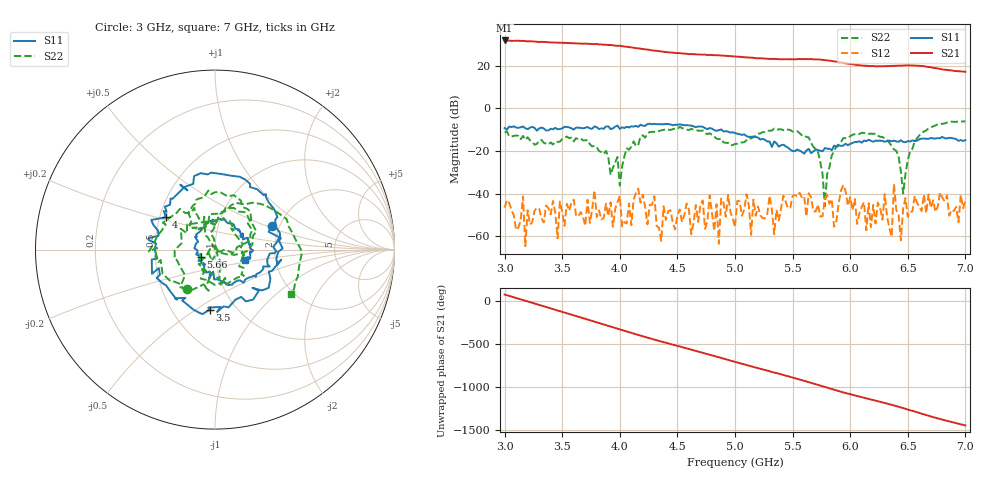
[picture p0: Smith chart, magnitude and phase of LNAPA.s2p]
!Keysight Technologies N9918A: A.08.15
!Date: Thursday, 07 December 2017 12:48:40
!Timezone: (GMT-08:00) Pacific Time (US & Canada)
!Model: N9918A
!Serial: MY53103150
!GPS Latitude:
!GPS Longitude:
!GPS TimeStamp: 0001-01-01 00:00:00Z
!GPS Seconds Since Last Read: 0
!CHECKSUM:1459497167
!Correction: S11(ON U)S21(ON U)S12(ON U)S22(ON U)
!S2P File: Measurements:S11,S21,S12,S22:
# Hz S DB R 50
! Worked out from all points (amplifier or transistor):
!   201 points, 3 GHz to 7 GHz, reference 50 ohm
!   highest |S21| = 31.8 dB at 3 GHz (marker M1)
!   |S21| within 3 dB of that: start of sweep to 4.066 GHz
!   unconditionally stable (mu >= 1): start of sweep to end of sweep
!   at 3.66 GHz: K = 3.52, MAG = 31.1 dB, |S12| = -48.7 dB
!   at 5 GHz: K = 17.24, MAG = 24.6 dB, |S12| = -55.8 dB
!   at 7 GHz: K = 7.74, MAG = 18.4 dB, |S12| = -43.5 dB
!   S11 on the Smith chart (normalised r, x): 3 GHz: 1.82, +0.55; 3.5 GHz: 0.75, -0.57; 4 GHz: 0.54, +0.22; 5.66 GHz: 0.85, -0.07; 7 GHz: 1.40, -0.16
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3e9  -9.27 22.9  31.77 76.7  -46.64 15.1  -11.36 -125.7
3.12e9  -9.22 -8.2  31.64 28.8  -55.94 -62.9  -12.98 -179.0
3.22e9  -9.15 -27.8  31.38 -12.0  -54.58 92.9  -15.04 123.0
3.36e9  -10.43 -61.1  31.06 -68.2  -45.63 43.6  -16.60 52.6
3.5e9  -9.45 -95.2  30.74 -124.2  -48.55 -168.2  -14.43 -32.5
3.68e9  -9.43 -143.8  30.23 163.0  -50.82 -163.2  -15.05 -103.9
3.84e9  -9.45 179.0  29.92 97.5  -52.22 95.4  -20.56 -152.2
4e9  -9.68 146.8  29.29 30.9  -41.16 72.0  -36.26 -38.6
4.2e9  -8.20 117.1  27.75 -48.6  -40.53 12.2  -12.70 -98.7
4.34e9  -7.51 82.2  26.75 -101.2  -56.11 -71.9  -10.71 -142.8
4.52e9  -7.54 47.5  25.86 -165.4  -47.47 132.4  -8.67 -178.3
4.74e9  -9.31 5.9  25.16 113.2  -56.55 114.0  -11.61 129.2
5e9  -11.66 -33.7  24.25 15.6  -55.78 -59.3  -16.82 123.2
5.3e9  -15.58 -91.4  23.11 -92.9  -41.11 -116.9  -10.51 108.5
5.5e9  -20.11 -130.4  22.93 -167.2  -41.10 -143.4  -10.98 57.2
5.66e9  -21.06 -154.1  23.04 131.7  -41.67 135.3  -16.12 10.1
5.68e9  -20.31 -159.6  22.93 123.5  -48.29 137.7  -18.12 6.6
5.94e9  -17.54 124.6  21.33 20.6  -35.94 91.2  -14.05 99.1
6.34e9  -15.18 40.7  19.78 -116.8  -56.14 -116.1  -16.22 -7.0
6.52e9  -15.60 20.0  20.10 173.1  -48.67 149.3  -20.25 104.8
6.68e9  -14.38 10.1  19.33 109.3  -40.40 113.6  -9.51 51.3
7e9  -14.97 -18.3  17.10 -2.9  -43.51 48.7  -6.23 -30.2
